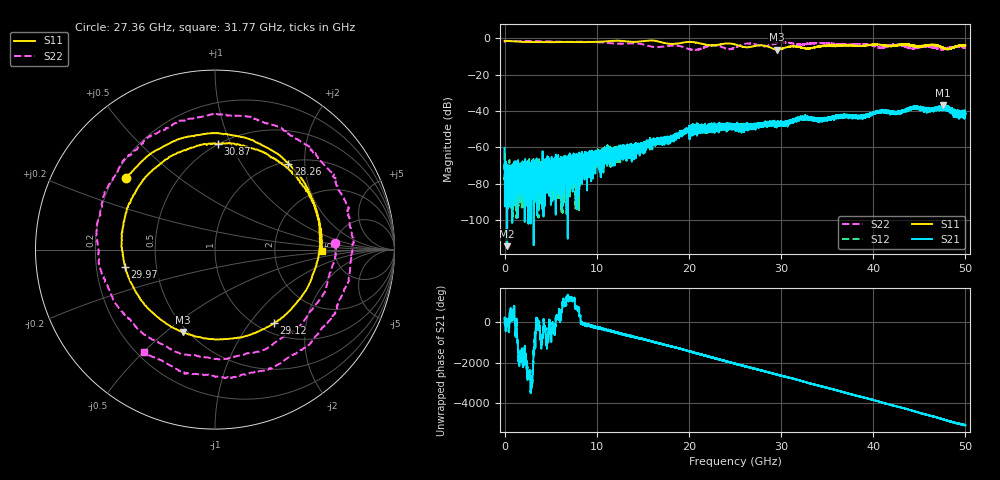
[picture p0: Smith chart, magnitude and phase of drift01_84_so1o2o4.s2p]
!Created with skrf (http://scikit-rf.org).
# Hz S RI R 50.0
!freq ReS11 ImS11 ReS21 ImS21 ReS12 ImS12 ReS22 ImS22
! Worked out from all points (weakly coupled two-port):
!   10001 points, 300 kHz to 50 GHz, reference 50 ohm
!   highest |S21| = -36.74 dB at 47.58 GHz (marker M1); lowest = -114.4 dB at 275.3 MHz (marker M2)
!   lowest |S11| = -6.2 dB at 29.55 GHz (marker M3), VSWR 2.94, Z = 23.7 - j28.7 ohm
!   |S11| at or under -10 dB: nowhere
!   |S22| runs from -6.4 to -1.4 dB; largest |S21 - S12| = 0.0033
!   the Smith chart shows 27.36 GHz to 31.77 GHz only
!   S11 on the Smith chart (normalised r, x): 27.36 GHz: 0.25, +0.33; 28.26 GHz: 1.04, +1.66; 29.12 GHz: 1.17, -1.32; 29.97 GHz: 0.33, -0.08; 30.87 GHz: 0.49, +0.89; 31.77 GHz: 3.94, -0.10
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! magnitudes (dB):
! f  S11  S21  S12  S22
! 300 kHz  -1.3  -60.2  -63.0  -2.0
! 275.3 MHz  -1.4  -114.4  -78.0  -1.4
! 3.425 GHz  -2.0  -71.1  -67.1  -1.5
! 3.93 GHz  -2.0  -73.0  -75.9  -1.5
! 6.1 GHz  -1.9  -67.9  -70.1  -1.8
! 8.335 GHz  -2.0  -63.4  -69.5  -1.8
! 16.67 GHz  -1.6  -57.6  -55.3  -4.8
! 18.62 GHz  -2.9  -53.9  -54.0  -3.9
! 20.28 GHz  -1.9  -48.7  -49.2  -6.1
! 22.62 GHz  -3.8  -47.1  -49.0  -3.8
! 25 GHz  -3.3  -48.1  -49.4  -5.0
! 27.36 GHz  -4.0  -48.7  -46.9  -3.5
! 28.26 GHz  -4.0  -47.8  -46.2  -4.3
! 29.12 GHz  -5.6  -46.8  -47.4  -3.2
! 29.55 GHz  -6.2  -47.0  -46.6  -2.6
! 29.97 GHz  -5.8  -46.5  -46.3  -2.3
! 30.87 GHz  -4.6  -46.5  -45.3  -2.5
! 31.77 GHz  -4.5  -43.4  -44.5  -3.2
! 33.34 GHz  -5.2  -44.5  -44.4  -2.7
! 41.67 GHz  -4.2  -40.3  -40.2  -4.1
! 47.58 GHz  -5.1  -36.7  -37.3  -6.1
! 50 GHz  -3.9  -41.7  -42.0  -5.3
